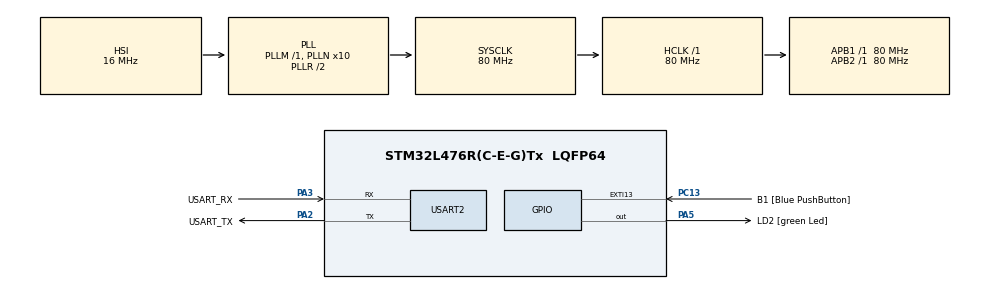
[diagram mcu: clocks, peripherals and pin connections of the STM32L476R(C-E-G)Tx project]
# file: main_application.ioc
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Mcu.Family=STM32L4
Mcu.Name=STM32L476R(C-E-G)Tx
Mcu.Package=LQFP64
NVIC.PriorityGroup=NVIC_PRIORITYGROUP_4
NVIC.USART2_IRQn=true\:0\:0\:false\:false\:true\:true\:true\:true
PA13\ (JTMS-SWDIO).GPIO_Label=TMS
PA13\ (JTMS-SWDIO).Mode=Serial_Wire
PA13\ (JTMS-SWDIO).Signal=SYS_JTMS-SWDIO
PA14\ (JTCK-SWCLK).GPIO_Label=TCK
PA14\ (JTCK-SWCLK).Mode=Serial_Wire
PA14\ (JTCK-SWCLK).Signal=SYS_JTCK-SWCLK
PA2.GPIO_Label=USART_TX
PA2.GPIO_Mode=GPIO_MODE_AF_PP
PA2.GPIO_PuPd=GPIO_NOPULL
PA2.GPIO_Speed=GPIO_SPEED_FREQ_VERY_HIGH
PA2.Mode=Asynchronous
PA2.Signal=USART2_TX
PA3.GPIO_Label=USART_RX
PA3.GPIO_Mode=GPIO_MODE_AF_PP
PA3.GPIO_PuPd=GPIO_NOPULL
PA3.GPIO_Speed=GPIO_SPEED_FREQ_VERY_HIGH
PA3.Mode=Asynchronous
PA3.Signal=USART2_RX
PA5.GPIO_Label=LD2 [green Led]
PA5.GPIO_ModeDefaultOutputPP=GPIO_MODE_OUTPUT_PP
PA5.GPIO_PuPd=GPIO_NOPULL
PA5.GPIO_Speed=GPIO_SPEED_FREQ_LOW
PA5.Signal=GPIO_Output
PB3\ (JTDO-TRACESWO).GPIO_Label=SWO
PB3\ (JTDO-TRACESWO).Signal=SYS_JTDO-SWO
PC13.GPIO_Label=B1 [Blue PushButton]
PC13.GPIO_ModeDefaultEXTI=GPIO_MODE_IT_FALLING
PC13.GPIO_PuPd=GPIO_NOPULL
PC13.Signal=GPXTI13
PC14-OSC32_IN\ (PC14).Mode=LSE-External-Oscillator
PC14-OSC32_IN\ (PC14).Signal=RCC_OSC32_IN
PC15-OSC32_OUT\ (PC15).Mode=LSE-External-Oscillator
PC15-OSC32_OUT\ (PC15).Signal=RCC_OSC32_OUT
PH0-OSC_IN\ (PH0).Signal=RCC_OSC_IN
PH1-OSC_OUT\ (PH1).Signal=RCC_OSC_OUT
ProjectManager.HeapSize=0x200
ProjectManager.StackSize=0x400
ProjectManager.TargetToolchain=STM32CubeIDE
RCC.ADCFreq_Value=64000000
RCC.AHBFreq_Value=80000000
RCC.APB1Freq_Value=80000000
RCC.APB1TimFreq_Value=80000000
RCC.APB2Freq_Value=80000000
RCC.APB2TimFreq_Value=80000000
RCC.CortexFreq_Value=80000000
RCC.HCLKFreq_Value=80000000
RCC.HSE_VALUE=8000000
RCC.HSI_VALUE=16000000
RCC.MSI_VALUE=4000000
RCC.PLLN=10
RCC.PLLSourceVirtual=RCC_PLLSOURCE_HSI
RCC.PREFETCH_ENABLE=1
RCC.SYSCLKFreq_VALUE=80000000
RCC.SYSCLKSource=RCC_SYSCLKSOURCE_PLLCLK
RCC.USBFreq_Value=64000000
RCC.VCOOutputFreq_Value=160000000
USART2.VirtualMode-Asynchronous=VM_ASYNC
VP_RTC_VS_RTC_Activate.Mode=RTC_Enabled
board=NUCLEO-L476RG

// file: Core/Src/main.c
/* USER CODE BEGIN Header */
/**
  ******************************************************************************
  * @file           : main.c
  * @brief          : Main program body
  ******************************************************************************
  * @attention
  *
  * Copyright (c) 2025 STMicroelectronics.
  * All rights reserved.
  *
  * This software is licensed under terms that can be found in the LICENSE file
  * in the root directory of this software component.
  * If no LICENSE file comes with this software, it is provided AS-IS.
  *
  ******************************************************************************
  */
/* USER CODE END Header */
#include "main.h"
#include "rtc.h"
#include "usart.h"
#include "gpio.h"

/* USER CODE BEGIN Includes */
#include <string.h>
#include "update_utils.h"
#include "debug.h"

/* USER CODE END Includes */

/* USER CODE BEGIN PTD */
typedef enum {
    STATE_IDLE,
    STATE_AT_MODE
} AT_State_t;
/* USER CODE END PTD */

/* USER CODE BEGIN PD */
#define CMD_BUFFER_SIZE  64

/* USER CODE END PD */

/* USER CODE BEGIN PV */

extern UART_HandleTypeDef huart2; // already defined in usart.c

uint8_t rx_byte;
char cmd_buffer[CMD_BUFFER_SIZE];
uint8_t cmd_index = 0;
AT_State_t at_state = STATE_IDLE;

/* USER CODE END PV */

void SystemClock_Config(void);
/* USER CODE BEGIN PFP */
void MX_GPIO_Init(void);
void HAL_Delay(uint32_t Delay);
void MX_USART2_UART_Init(void);
void handle_at_command(const char *cmd);
/* USER CODE END PFP */

int main(void)
{

  /* MCU Configuration--------------------------------------------------------*/

  /* Reset of all peripherals, Initializes the Flash interface and the Systick. */
  HAL_Init();

  /* Configure the system clock */
  SystemClock_Config();

  /* Initialize all configured peripherals */
  MX_GPIO_Init();
  MX_USART2_UART_Init();
  MX_RTC_Init();
  /* USER CODE BEGIN 2 */
  HAL_UART_Receive_IT(&huart2, &rx_byte, 1);

  DBG_PRINTF("\r\n STM32 UART BOOTLADER\r\n");

  /* USER CODE END 2 */

  /* Infinite loop */
  while (1)
  {

  }
}

void SystemClock_Config(void)
{
  RCC_OscInitTypeDef RCC_OscInitStruct = {0};
  RCC_ClkInitTypeDef RCC_ClkInitStruct = {0};

  /** Configure the main internal regulator output voltage
  */
  if (HAL_PWREx_ControlVoltageScaling(PWR_REGULATOR_VOLTAGE_SCALE1) != HAL_OK)
  {
    Error_Handler();
  }

  /** Initializes the RCC Oscillators according to the specified parameters
  * in the RCC_OscInitTypeDef structure.
  */
  RCC_OscInitStruct.OscillatorType = RCC_OSCILLATORTYPE_HSI|RCC_OSCILLATORTYPE_LSI;
  RCC_OscInitStruct.HSIState = RCC_HSI_ON;
  RCC_OscInitStruct.HSICalibrationValue = RCC_HSICALIBRATION_DEFAULT;
  RCC_OscInitStruct.LSIState = RCC_LSI_ON;
  RCC_OscInitStruct.PLL.PLLState = RCC_PLL_ON;
  RCC_OscInitStruct.PLL.PLLSource = RCC_PLLSOURCE_HSI;
  RCC_OscInitStruct.PLL.PLLM = 1;
  RCC_OscInitStruct.PLL.PLLN = 10;
  RCC_OscInitStruct.PLL.PLLP = RCC_PLLP_DIV7;
  RCC_OscInitStruct.PLL.PLLQ = RCC_PLLQ_DIV2;
  RCC_OscInitStruct.PLL.PLLR = RCC_PLLR_DIV2;
  if (HAL_RCC_OscConfig(&RCC_OscInitStruct) != HAL_OK)
  {
    Error_Handler();
  }

  /** Initializes the CPU, AHB and APB buses clocks
  */
  RCC_ClkInitStruct.ClockType = RCC_CLOCKTYPE_HCLK|RCC_CLOCKTYPE_SYSCLK
                              |RCC_CLOCKTYPE_PCLK1|RCC_CLOCKTYPE_PCLK2;
  RCC_ClkInitStruct.SYSCLKSource = RCC_SYSCLKSOURCE_PLLCLK;
  RCC_ClkInitStruct.AHBCLKDivider = RCC_SYSCLK_DIV1;
  RCC_ClkInitStruct.APB1CLKDivider = RCC_HCLK_DIV1;
  RCC_ClkInitStruct.APB2CLKDivider = RCC_HCLK_DIV1;

  if (HAL_RCC_ClockConfig(&RCC_ClkInitStruct, FLASH_LATENCY_4) != HAL_OK)
  {
    Error_Handler();
  }
}

/* USER CODE BEGIN 4 */
// USART receive complete callback
void HAL_UART_RxCpltCallback(UART_HandleTypeDef *huart)
{
    if (huart->Instance == USART2)
    {
        if (rx_byte == '\r' || rx_byte == '\n') {
            if (cmd_index > 0) {  // Only handle if command isn't empty
                cmd_buffer[cmd_index] = '\0';
                handle_at_command(cmd_buffer);
                cmd_index = 0;
            }
        }
        else if (cmd_index < CMD_BUFFER_SIZE - 1) {
            cmd_buffer[cmd_index++] = rx_byte;
        }

        HAL_UART_Receive_IT(&huart2, &rx_byte, 1);  // Restart reception
    }
}

void handle_at_command(const char *cmd)
{
    switch (at_state)
    {
    case STATE_IDLE:
        if (strcmp(cmd, "+++") == 0)
        {
            DBG_PRINTF("\r\n[AT MODE]\r\n");
            at_state = STATE_AT_MODE;
        }
        return;  // <---- KEY: Don't fall into default ERROR

    case STATE_AT_MODE:
        if (strcmp(cmd, "AT") == 0)
        {
            DBG_PRINTF("OK\r\n");
        }
        else if (strcmp(cmd, "AT+BOOT") == 0)
        {
            DBG_PRINTF("Bootloader...\r\n");
            set_update_flag();
            DBG_PRINTF("Rebooting MCU now...\r\n");
            NVIC_SystemReset();
        }
        else if (strcmp(cmd, "AT+EXIT") == 0)
        {
            DBG_PRINTF("[EXIT AT MODE]\r\n");
            at_state = STATE_IDLE;
        }
        else
        {
            DBG_PRINTF("ERROR\r\n");
        }
        break;
    }
}

void HAL_Delay(uint32_t Delay)
{
  uint32_t tickstart = HAL_GetTick();
  uint32_t wait = Delay;

  /* Add a period to guaranty minimum wait */
  if (wait < HAL_MAX_DELAY)
  {
    wait += (uint32_t)uwTickFreq;
  }

  while ((HAL_GetTick() - tickstart) < wait)
  {
  }
}

/* USER CODE END 4 */

void Error_Handler(void)
{
  __disable_irq();
  while (1)
  {
  }
}
